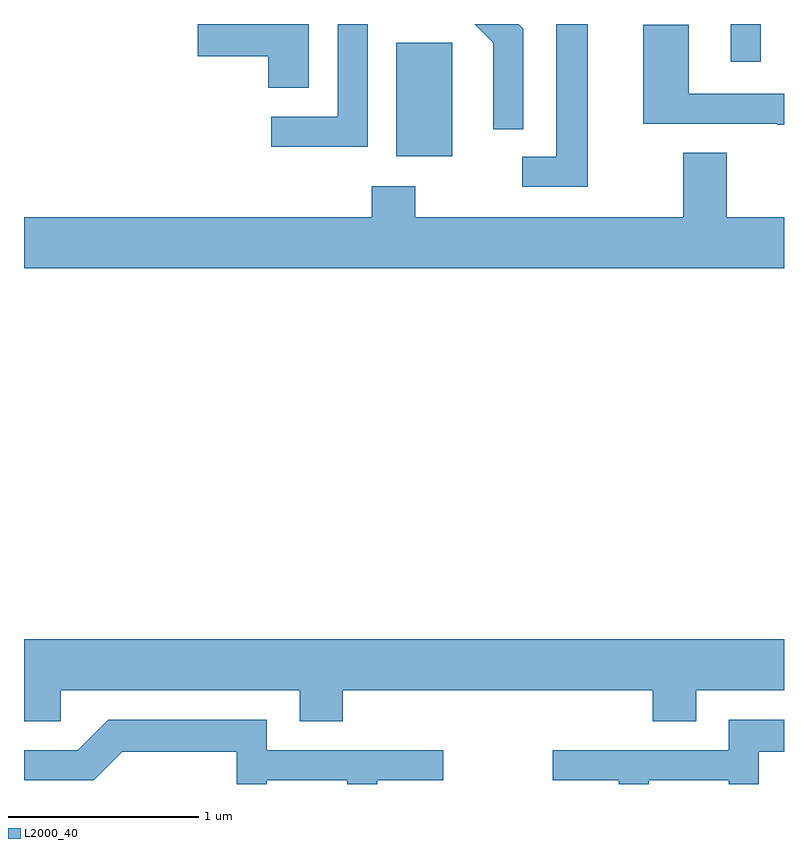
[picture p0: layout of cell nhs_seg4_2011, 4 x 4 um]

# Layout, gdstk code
import gdstk
lib = gdstk.Library(unit=1e-6, precision=1e-09)
def R(c, l, rs):  # rectangles x0, y0, x1, y1
    for r in rs: c.add(gdstk.rectangle(r[:2], r[2:], *l))
def P(c, l, *ps):  # polygons
    for p in ps: c.add(gdstk.Polygon(p, *l))
L2000_40 = (2000, 40)

nhs_seg4_2011 = lib.new_cell('nhs_seg4_2011')
R(nhs_seg4_2011, L2000_40, [(245.571,1335.286,245.864,1335.884), (247.331,1335.783,247.489,1335.982)])
P(nhs_seg4_2011, L2000_40, [(245.109,1335.982),(244.526,1335.982),(244.526,1335.811),(244.896,1335.811),(244.896,1335.646),(245.109,1335.646)],
  [(246.239,1335.957),(246.214,1335.982),(245.983,1335.982),(246.081,1335.884),(246.081,1335.428),(246.239,1335.428)],
  [(245.419,1335.982),(245.261,1335.982),(245.261,1335.494),(244.913,1335.494),(244.913,1335.336),(245.419,1335.336)],
  [(246.579,1335.982),(246.411,1335.982),(246.411,1335.284),(246.233,1335.284),(246.233,1335.126),(246.579,1335.126)],
  [(247.611,1335.614),(247.109,1335.614),(247.109,1335.979),(246.871,1335.979),(246.871,1335.456),(247.575,1335.456),(247.575,1335.451),(247.611,1335.451)],
  [(247.611,1334.964),(247.309,1334.964),(247.309,1335.304),(247.081,1335.304),(247.081,1334.964),(245.669,1334.964),(245.669,1335.129),(245.441,1335.129),(245.441,1334.964),(243.611,1334.964),(243.611,1334.696),(247.611,1334.696)],
  [(243.804,1332.476),(245.061,1332.476),(245.061,1332.311),(245.289,1332.311),(245.289,1332.476),(246.921,1332.476),(246.921,1332.311),(247.149,1332.311),(247.149,1332.476),(247.611,1332.476),(247.611,1332.744),(243.611,1332.744),(243.611,1332.311),(243.804,1332.311)],
  [(244.889,1332.001),(245.311,1332.001),(245.311,1331.982),(245.469,1331.982),(245.469,1332.001),(245.818,1332.001),(245.818,1332.159),(244.889,1332.159),(244.889,1332.319),(244.054,1332.319),(243.894,1332.159),(243.611,1332.159),(243.611,1332.001),(243.977,1332.001),(244.127,1332.151),(244.731,1332.151),(244.731,1331.982),(244.889,1331.982)],
  [(246.899,1332.001),(247.321,1332.001),(247.321,1331.982),(247.479,1331.982),(247.479,1332.151),(247.611,1332.151),(247.611,1332.319),(247.321,1332.319),(247.321,1332.159),(246.393,1332.159),(246.393,1332.001),(246.741,1332.001),(246.741,1331.982),(246.899,1331.982)])

lib.write_gds('nhs_seg4_2011.gds')
